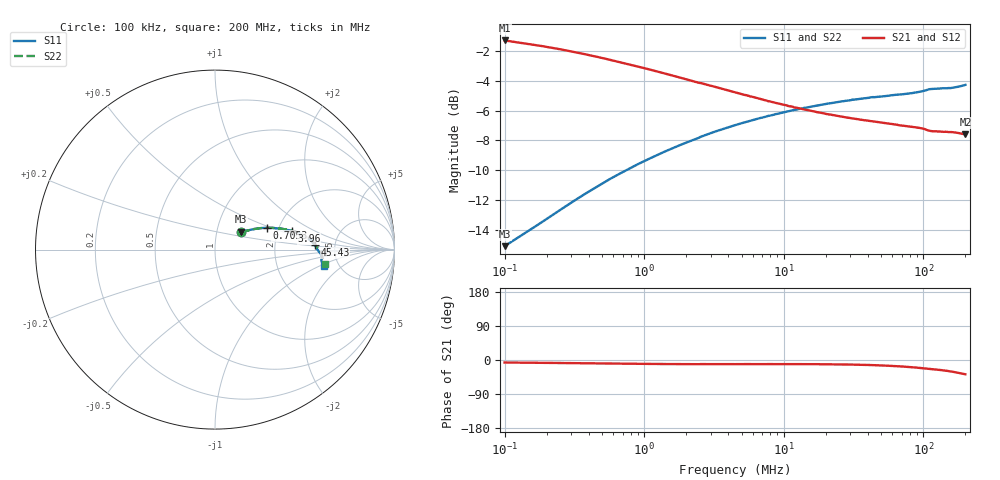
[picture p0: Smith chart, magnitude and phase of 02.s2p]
#  HZ  S  RI  R  50.00
! Rohde & Schwarz Vector Network Analyzer
! Rohde-Schwarz,ZNLE6-2Port,1323001256200024,1.71.1.10-23.02.1.238
! Created: UTC 4/11/2025, 8:03:57 AM
! freq[Hz]  re:S11  im:S11  re:S21  im:S21  re:S12  im:S12  re:S22  im:S22
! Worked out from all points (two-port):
!   1001 points, 100 kHz to 200 MHz, reference 50 ohm
!   highest |S21| = -1.28 dB at 100 kHz (marker M1); lowest = -7.6 dB at 200 MHz (marker M2)
!   |S21| within 3 dB of the highest: start of sweep to 2.877 MHz
!   lowest |S11| = -15.1 dB at 100 kHz (marker M3), VSWR 1.43, Z = 65.4 + j13.4 ohm
!   |S11| at or under -10 dB: start of sweep to 746.6 kHz
!   |S22| runs from -15.1 to -4.2 dB; largest |S21 - S12| = 0.011
!   S11 on the Smith chart (normalised r, x): 100 kHz: 1.31, +0.27; 705.3 kHz: 1.73, +0.46; 3.96 MHz: 2.38, +0.61; 45.43 MHz: 3.49, +0.27; 200 MHz: 3.80, -1.11
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100000  0.1447 0.0993  0.857 -0.0994  0.8573 -0.0994  0.1446 0.0992
196694.3  0.1867 0.1076  0.815 -0.108  0.8153 -0.108  0.1866 0.1076
355854.1  0.2309 0.1167  0.771 -0.1173  0.7713 -0.1173  0.2307 0.1167
705285.1  0.2873 0.1213  0.7149 -0.123  0.7153 -0.1231  0.287 0.1213
1266322  0.3363 0.1202  0.6654 -0.1238  0.6657 -0.1239  0.3362 0.1203
2397897  0.388 0.1134  0.6123 -0.1197  0.6126 -0.1193  0.3879 0.1133
2607005  0.396 0.1102  0.6076 -0.1156  0.6057 -0.1221  0.395 0.1137
3960030  0.4274 0.1039  0.5761 -0.1106  0.5743 -0.1157  0.4267 0.1063
4472136  0.436 0.1019  0.5674 -0.1095  0.5656 -0.1133  0.4356 0.1038
8796434  0.4811 0.0825  0.522 -0.0989  0.5216 -0.108  0.4795 0.0876
1.306051e7  0.503 0.0748  0.5005 -0.0972  0.5002 -0.0987  0.5026 0.0761
1.591428e7  0.5129 0.0673  0.4905 -0.0952  0.4893 -0.0989  0.5126 0.0703
2.945577e7  0.541 0.0464  0.4635 -0.0984  0.463 -0.1  0.5405 0.0491
4.542858e7  0.556 0.0269  0.4464 -0.1092  0.4447 -0.1127  0.5561 0.0321
5.663162e7  0.5623 0.0147  0.4371 -0.1189  0.4346 -0.1252  0.5631 0.0227
6.299027e7  0.5661 0.0128  0.4322 -0.1256  0.4318 -0.1273  0.5666 0.0178
6.848331e7  0.5683 0.00228  0.4279 -0.1295  0.4258 -0.1399  0.5692 0.014
7.912329e7  0.5722 -0.00283  0.4205 -0.1403  0.4177 -0.1473  0.5744 0.0071
1.009107e8  0.5836 -0.0168  0.4033 -0.1638  0.4002 -0.17  0.5861 -0.00631
1.22029e8  0.5923 -0.0397  0.3878 -0.1787  0.3838 -0.1843  0.5953 -0.0274
1.568184e8  0.5932 -0.065  0.3673 -0.2131  0.3639 -0.2181  0.6014 -0.0523
2e8  0.6048 -0.0915  0.3301 -0.2547  0.3257 -0.2597  0.6143 -0.0804
